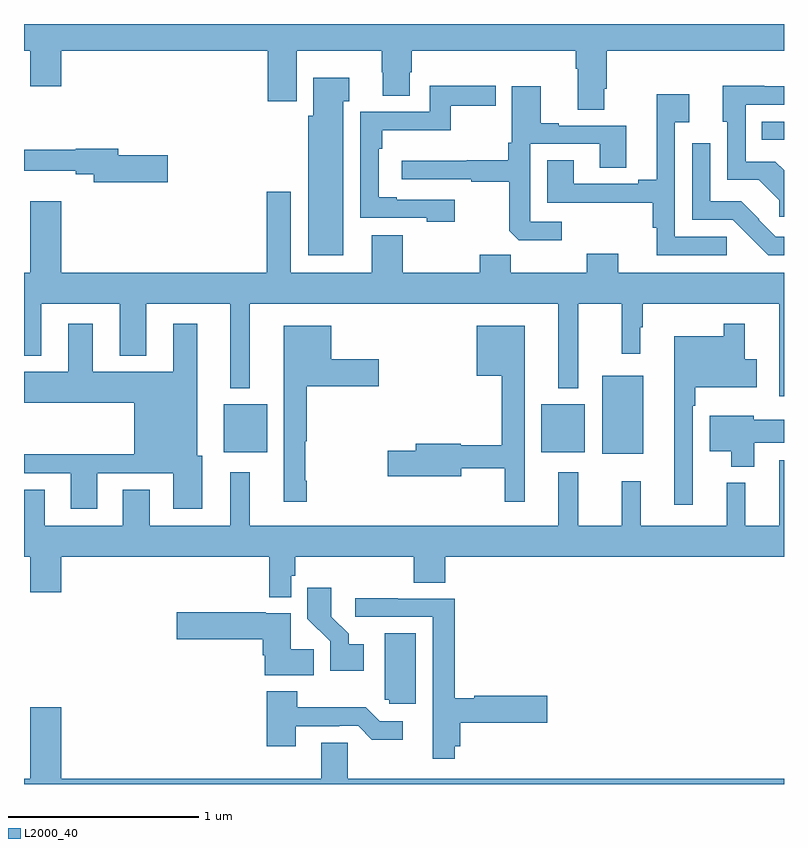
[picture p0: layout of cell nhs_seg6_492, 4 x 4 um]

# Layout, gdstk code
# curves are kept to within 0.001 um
import gdstk
lib = gdstk.Library(unit=1e-6, precision=1e-09)
def R(c, l, rs):  # rectangles x0, y0, x1, y1
    for r in rs: c.add(gdstk.rectangle(r[:2], r[2:], *l))
def P(c, l, *ps):  # polygons
    for p in ps: c.add(gdstk.Polygon(p, *l))
L2000_40 = (2000, 40)

nhs_seg6_492 = lib.new_cell('nhs_seg6_492')
R(nhs_seg6_492, L2000_40, [(144.044,921.239,144.259,921.649), (142.052,921.245,142.279,921.499), (143.723,921.245,143.95,921.499), (144.883,922.89,145,922.986)])
P(nhs_seg6_492, L2000_40, [(144.055,923.158),(144.068,923.158),(144.068,923.36),(145,923.36),(145,923.5),(141,923.5),(141,923.36),(141.032,923.36),(141.032,923.172),(141.196,923.172),(141.196,923.36),(142.283,923.36),(142.283,923.094),(142.435,923.094),(142.435,923.36),(142.882,923.36),(142.882,923.247),(142.889,923.247),(142.889,923.122),(143.029,923.122),(143.029,923.247),(143.042,923.247),(143.042,923.36),(143.903,923.36),(143.903,923.264),(143.915,923.264),(143.915,923.05),(144.055,923.05)],
  [(142.681,923.093),(142.711,923.093),(142.711,923.218),(142.523,923.218),(142.523,923.016),(142.496,923.016),(142.496,922.283),(142.681,922.283)],
  [(145,922.731),(144.955,922.776),(144.798,922.776),(144.798,923.076),(145,923.076),(145,923.172),(144.895,923.172),(144.895,923.174),(144.677,923.174),(144.677,922.986),(144.702,922.986),(144.702,922.68),(144.868,922.68),(144.976,922.572),(144.976,922.485),(145,922.485)],
  [(143.266,922.575),(142.963,922.575),(142.963,922.588),(142.866,922.588),(142.866,922.844),(142.886,922.844),(142.886,922.94),(143.245,922.94),(143.245,923.071),(143.482,923.071),(143.482,923.174),(143.136,923.174),(143.136,923.037),(142.77,923.037),(142.77,922.479),(143.121,922.479),(143.121,922.46),(143.266,922.46)],
  [(143.83,922.458),(143.664,922.458),(143.664,922.869),(144.029,922.869),(144.029,922.744),(144.169,922.744),(144.169,922.965),(143.815,922.965),(143.815,922.978),(143.719,922.978),(143.719,923.173),(143.568,923.173),(143.568,922.876),(143.548,922.876),(143.548,922.784),(143.329,922.784),(143.329,922.78),(142.989,922.78),(142.989,922.683),(143.353,922.683),(143.353,922.671),(143.553,922.671),(143.553,922.413),(143.605,922.362),(143.83,922.362)],
  [(144.699,922.38),(144.426,922.38),(144.426,922.982),(144.502,922.982),(144.502,923.131),(144.329,923.131),(144.329,922.679),(144.233,922.679),(144.233,922.659),(143.893,922.659),(143.893,922.784),(143.753,922.784),(143.753,922.558),(144.31,922.558),(144.31,922.427),(144.329,922.427),(144.329,922.284),(144.699,922.284)],
  [(145,922.38),(144.957,922.38),(144.867,922.47),(144.869,922.472),(144.775,922.566),(144.612,922.566),(144.612,922.873),(144.516,922.873),(144.516,922.47),(144.729,922.47),(144.917,922.284),(145,922.284)],
  [(141.757,922.808),(141.496,922.808),(141.496,922.844),(141.272,922.844),(141.272,922.837),(141,922.837),(141,922.727),(141.272,922.727),(141.272,922.708),(141.368,922.708),(141.368,922.666),(141.757,922.666)],
  [(144.127,922.291),(143.963,922.291),(143.963,922.192),(143.563,922.192),(143.563,922.285),(143.399,922.285),(143.399,922.192),(142.993,922.192),(142.993,922.387),(142.829,922.387),(142.829,922.192),(142.405,922.192),(142.405,922.618),(142.277,922.618),(142.277,922.192),(141.196,922.192),(141.196,922.567),(141.032,922.567),(141.032,922.192),(141,922.192),(141,921.755),(141.091,921.755),(141.091,922.028),(141.503,922.028),(141.503,921.755),(141.643,921.755),(141.643,922.028),(142.085,922.028),(142.085,921.584),(142.189,921.584),(142.189,922.028),(143.813,922.028),(143.813,921.584),(143.917,921.584),(143.917,922.028),(144.145,922.028),(144.145,921.765),(144.244,921.765),(144.244,921.905),(144.256,921.905),(144.256,922.028),(144.974,922.028),(144.974,921.823),(144.975,921.823),(144.975,921.54),(145,921.54),(145,922.192),(144.127,922.192)],
  [(141.385,921.135),(141.785,921.135),(141.785,920.949),(141.937,920.949),(141.937,921.228),(141.913,921.228),(141.913,921.922),(141.785,921.922),(141.785,921.67),(141.361,921.67),(141.361,921.922),(141.233,921.922),(141.233,921.67),(141,921.67),(141,921.506),(141.581,921.506),(141.581,921.236),(141,921.236),(141,921.135),(141.245,921.135),(141.245,920.949),(141.385,920.949)],
  [(144.519,921.491),(144.532,921.491),(144.532,921.587),(144.856,921.587),(144.856,921.735),(144.794,921.735),(144.794,921.922),(144.684,921.922),(144.684,921.856),(144.422,921.856),(144.422,920.97),(144.519,920.97)],
  [(142.489,921.097),(142.481,921.097),(142.481,921.303),(142.489,921.303),(142.489,921.593),(142.867,921.593),(142.867,921.735),(142.618,921.735),(142.618,921.913),(142.367,921.913),(142.367,920.985),(142.489,920.985)],
  [(143.635,921.913),(143.384,921.913),(143.384,921.65),(143.514,921.65),(143.514,921.283),(143.298,921.283),(143.298,921.29),(143.063,921.29),(143.063,921.254),(142.914,921.254),(142.914,921.119),(143.302,921.119),(143.302,921.162),(143.531,921.162),(143.531,920.985),(143.635,920.985)],
  [(144.844,921.296),(145,921.296),(145,921.418),(144.84,921.418),(144.84,921.439),(144.608,921.439),(144.608,921.251),(144.722,921.251),(144.722,921.17),(144.844,921.17)],
  [(142.407,920.595),(142.427,920.595),(142.427,920.696),(143.051,920.696),(143.051,920.56),(143.216,920.56),(143.216,920.696),(145,920.696),(145,921.205),(144.974,921.205),(144.974,920.86),(144.797,920.86),(144.797,921.085),(144.698,921.085),(144.698,920.86),(144.245,920.86),(144.245,921.094),(144.145,921.094),(144.145,920.86),(143.917,920.86),(143.917,921.142),(143.813,921.142),(143.813,920.86),(142.189,920.86),(142.189,921.142),(142.085,921.142),(142.085,920.86),(141.661,920.86),(141.661,921.05),(141.521,921.05),(141.521,920.86),(141.109,920.86),(141.109,921.05),(141,921.05),(141,920.696),(141.032,920.696),(141.032,920.508),(141.196,920.508),(141.196,920.696),(142.291,920.696),(142.291,920.483),(142.407,920.483)],
  [(142.789,920.236),(142.708,920.236),(142.708,920.291),(142.618,920.381),(142.618,920.533),(142.492,920.533),(142.492,920.37),(142.611,920.251),(142.611,920.096),(142.789,920.096)],
  [(143.267,919.7),(143.297,919.7),(143.297,919.822),(143.755,919.822),(143.755,919.964),(143.37,919.964),(143.37,919.952),(143.267,919.952),(143.267,920.475),(142.967,920.475),(142.967,920.478),(142.743,920.478),(142.743,920.379),(143.151,920.379),(143.151,919.632),(143.267,919.632)],
  [(142.526,920.21),(142.405,920.21),(142.405,920.398),(142.272,920.398),(142.272,920.403),(141.804,920.403),(141.804,920.261),(142.256,920.261),(142.256,920.177),(142.268,920.177),(142.268,920.072),(142.526,920.072)],
  [(143.062,920.293),(142.898,920.293),(142.898,919.944),(142.923,919.944),(142.923,919.923),(143.062,919.923)],
  [(142.429,919.803),(142.658,919.803),(142.658,919.806),(142.758,919.806),(142.831,919.733),(142.993,919.733),(142.993,919.83),(142.872,919.83),(142.799,919.903),(142.437,919.903),(142.437,919.987),(142.277,919.987),(142.277,919.698),(142.429,919.698)],
  [(145,919.528),(142.704,919.528),(142.704,919.718),(142.565,919.718),(142.565,919.528),(141.196,919.528),(141.196,919.903),(141.032,919.903),(141.032,919.528),(141,919.528),(141,919.5),(145,919.5)])

lib.write_gds('nhs_seg6_492.gds')
